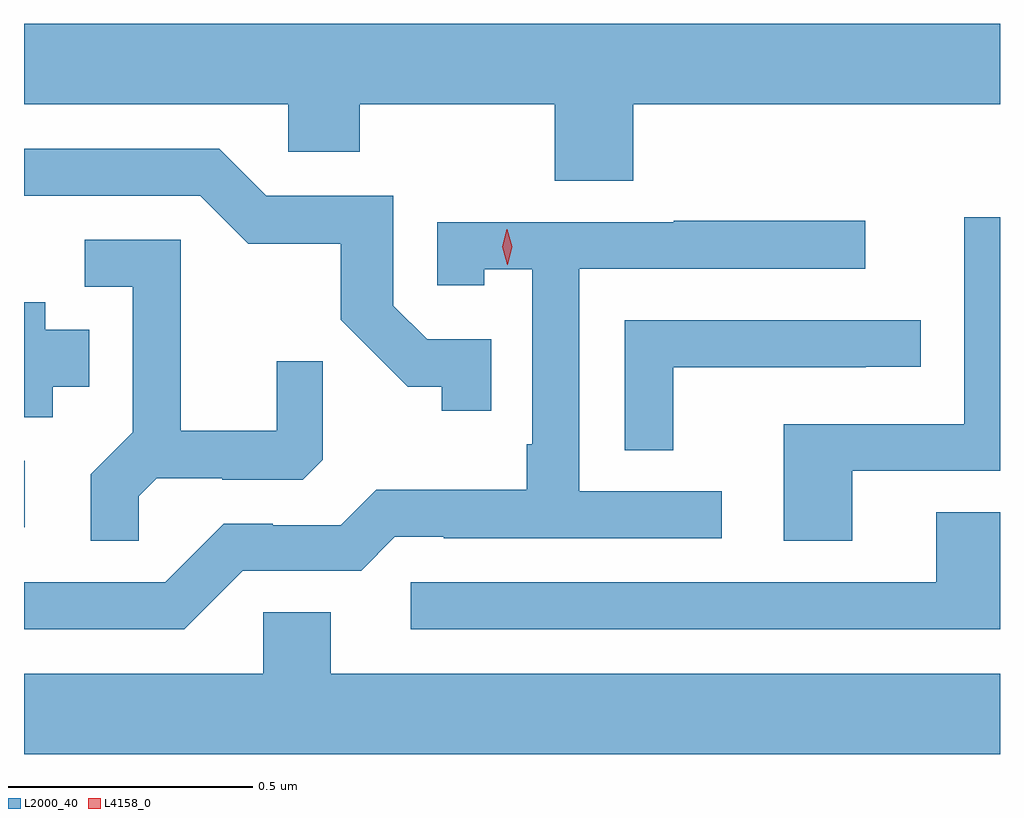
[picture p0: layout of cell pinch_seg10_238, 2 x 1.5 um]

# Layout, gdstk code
import gdstk
lib = gdstk.Library(unit=1e-6, precision=1e-09)
def R(c, l, rs):  # rectangles x0, y0, x1, y1
    for r in rs: c.add(gdstk.rectangle(r[:2], r[2:], *l))
def P(c, l, *ps):  # polygons
    for p in ps: c.add(gdstk.Polygon(p, *l))
L2000_40 = (2000, 40)
L4158_0 = (4158, 0)

pinch_seg10_238 = lib.new_cell('pinch_seg10_238')
R(pinch_seg10_238, L2000_40, [(621.674,1322.093,621.676,1322.229)])
P(pinch_seg10_238, L2000_40, [(622.922,1322.96),(623.674,1322.96),(623.674,1323.124),(621.674,1323.124),(621.674,1322.96),(622.215,1322.96),(622.215,1322.862),(622.362,1322.862),(622.362,1322.96),(622.762,1322.96),(622.762,1322.803),(622.922,1322.803)],
  [(622.631,1322.478),(622.5,1322.478),(622.431,1322.547),(622.431,1322.772),(622.17,1322.772),(622.074,1322.868),(621.674,1322.868),(621.674,1322.772),(622.035,1322.772),(622.134,1322.674),(622.323,1322.674),(622.323,1322.518),(622.46,1322.381),(622.53,1322.381),(622.53,1322.331),(622.631,1322.331)],
  [(623.371,1322.208),(623.674,1322.208),(623.674,1322.728),(623.601,1322.728),(623.601,1322.304),(623.231,1322.304),(623.231,1322.065),(623.371,1322.065)],
  [(622.122,1322.004),(622.365,1322.004),(622.434,1322.073),(622.534,1322.073),(622.534,1322.07),(623.104,1322.07),(623.104,1322.166),(622.812,1322.166),(622.812,1322.622),(623.398,1322.622),(623.398,1322.721),(623.005,1322.721),(623.005,1322.718),(622.521,1322.718),(622.521,1322.589),(622.617,1322.589),(622.617,1322.621),(622.716,1322.621),(622.716,1322.263),(622.704,1322.263),(622.704,1322.17),(622.396,1322.17),(622.323,1322.097),(622.184,1322.097),(622.184,1322.1),(622.083,1322.1),(621.963,1321.98),(621.674,1321.98),(621.674,1321.884),(622.002,1321.884)],
  [(621.909,1322.156),(621.946,1322.193),(622.08,1322.193),(622.08,1322.19),(622.245,1322.19),(622.286,1322.231),(622.286,1322.433),(622.192,1322.433),(622.192,1322.29),(621.995,1322.29),(621.995,1322.682),(621.798,1322.682),(621.798,1322.586),(621.897,1322.586),(621.897,1322.287),(621.811,1322.201),(621.811,1322.065),(621.909,1322.065)],
  [(621.733,1322.381),(621.808,1322.381),(621.808,1322.497),(621.718,1322.497),(621.718,1322.554),(621.674,1322.554),(621.674,1322.318),(621.733,1322.318)],
  [(623.004,1322.421),(623.399,1322.421),(623.399,1322.422),(623.512,1322.422),(623.512,1322.517),(622.905,1322.517),(622.905,1322.251),(623.004,1322.251)],
  [(623.674,1322.123),(623.543,1322.123),(623.543,1321.98),(622.467,1321.98),(622.467,1321.884),(623.674,1321.884)],
  [(623.674,1321.792),(622.303,1321.792),(622.303,1321.919),(622.164,1321.919),(622.164,1321.792),(621.674,1321.792),(621.674,1321.628),(623.674,1321.628)])
P(pinch_seg10_238, L4158_0, [(622.664,1322.631),(622.664,1322.631),(622.654,1322.667),(622.663,1322.703),(622.664,1322.703),(622.664,1322.703),(622.674,1322.667),(622.665,1322.631)])

lib.write_gds('pinch_seg10_238.gds')
